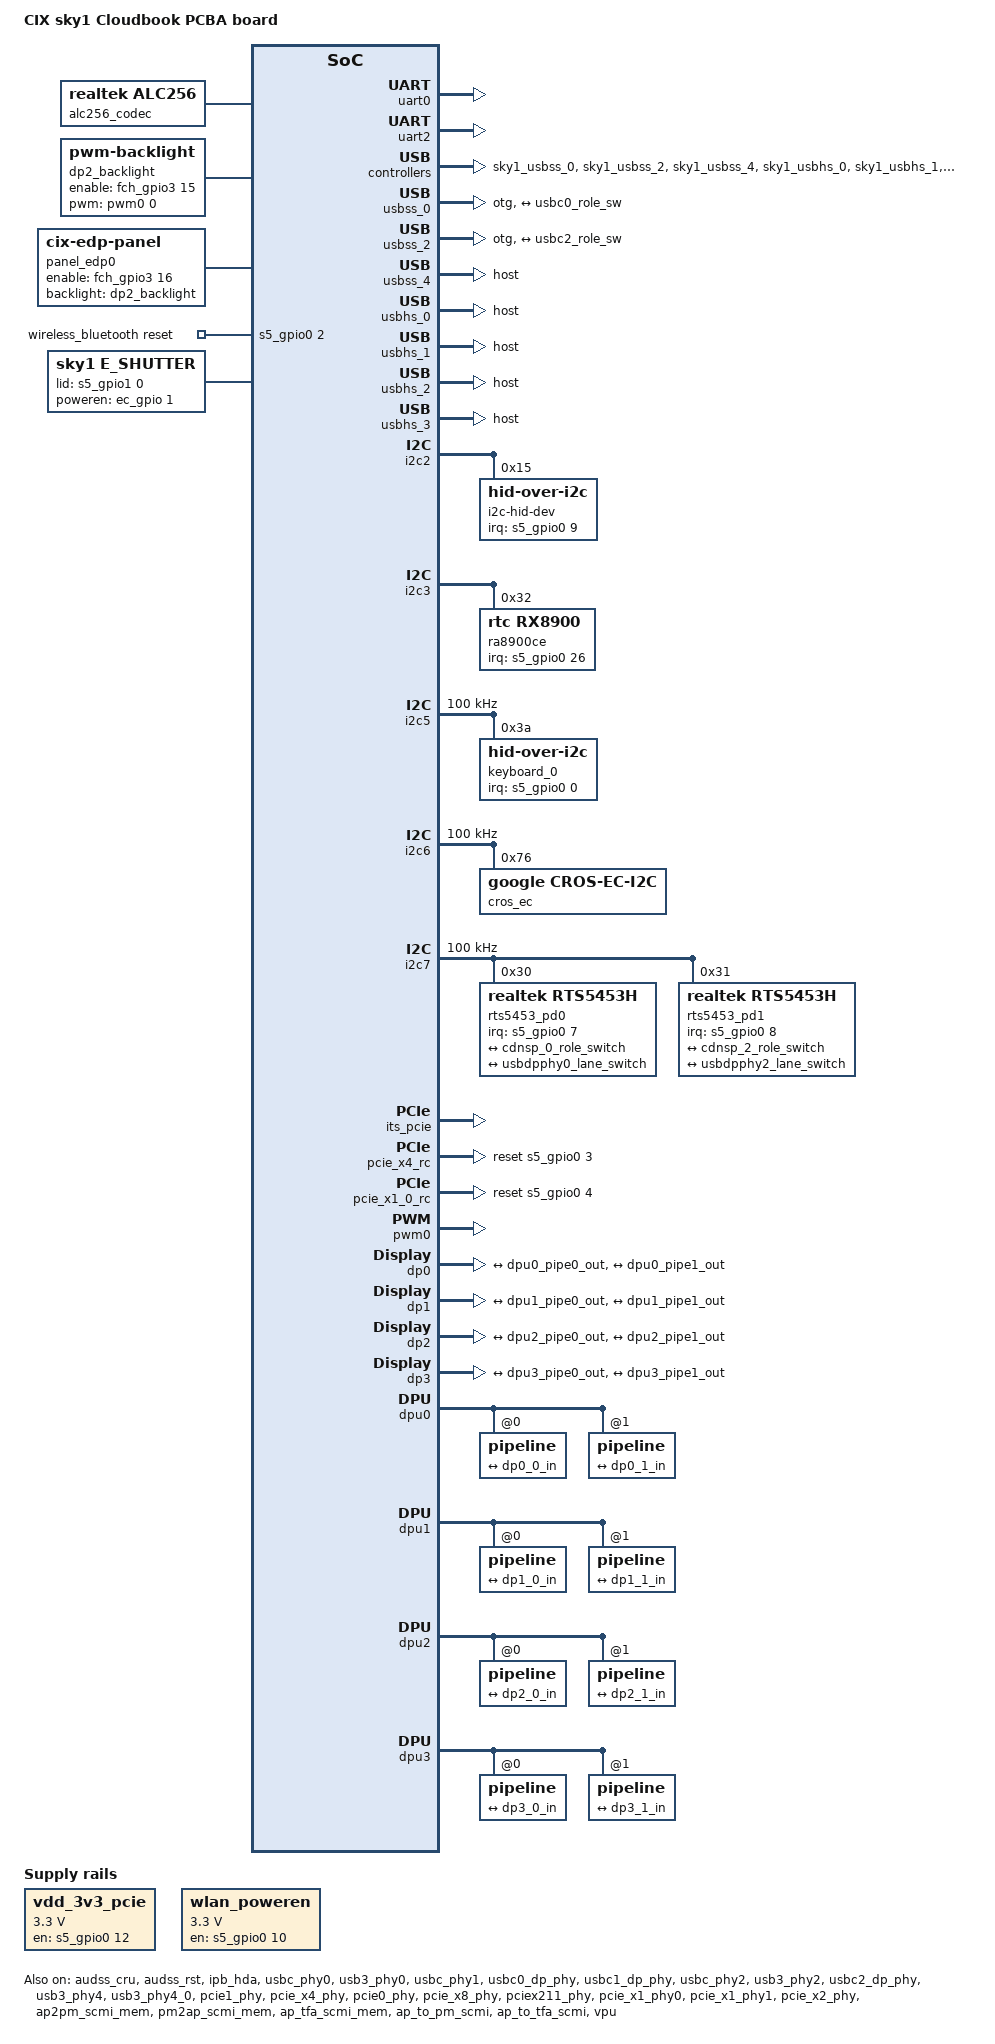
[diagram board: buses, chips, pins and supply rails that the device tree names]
/*
 * Copyright 2024 Cix Technology Group Co., Ltd.
 *
 * SPDX-License-Identifier: BSD-3-Clause
 */

/dts-v1/;

#include "sky1.dtsi"
/delete-node/ &reg_definition;

/ {
	model = "CIX sky1 Cloudbook PCBA board";
	compatible = "cix,sky1";

	chosen {
		stdout-path = &uart2;
	};

	alc256_codec: alc256_codec {
		compatible = "realtek,alc256";
		#sound-dai-cells = <0>;
		status = "okay";
	};

	sound {
		compatible = "cix,sky1-sound-card";
		model = "cix,sky1";
		status = "okay";

		hda {
			status = "okay";

			cpu {
				sound-dai = <&ipb_hda>;
			};

			codec {
				sound-dai = <&alc256_codec>;
			};
		};

	};

	dp2_backlight: dp2_backlight {
		compatible = "pwm-backlight";
		enable-gpios = <&fch_gpio3 15 GPIO_ACTIVE_HIGH>;
		pwms = <&pwm0 0 100000>;
		status = "okay";

		brightness-levels = <
			0   1   2   3   4   5   6   7
			8   9  10  11  12  13  14  15
			16  17  18  19  20  21  22  23
			24  25  26  27  28  29  30  31
			32  33  34  35  36  37  38  39
			40  41  42  43  44  45  46  47
			48  49  50  51  52  53  54  55
			56  57  58  59  60  61  62  63
			64  65  66  67  68  69  70  71
			72  73  74  75  76  77  78  79
			80  81  82  83  84  85  86  87
			88  89  90  91  92  93  94  95
			96  97  98  99 100 101 102 103
			104 105 106 107 108 109 110 111
			112 113 114 115 116 117 118 119
			120 121 122 123 124 125 126 127
			128 129 130 131 132 133 134 135
			136 137 138 139 140 141 142 143
			144 145 146 147 148 149 150 151
			152 153 154 155 156 157 158 159
			160 161 162 163 164 165 166 167
			168 169 170 171 172 173 174 175
			176 177 178 179 180 181 182 183
			184 185 186 187 188 189 190 191
			192 193 194 195 196 197 198 199
			200 201 202 203 204 205 206 207
			208 209 210 211 212 213 214 215
			216 217 218 219 220 221 222 223
			224 225 226 227 228 229 230 231
			232 233 234 235 236 237 238 239
			240 241 242 243 244 245 246 247
			248 249 250 251 252 253 254 255>;
		default-brightness-level = <200>;

	};

	panel_edp0: panel_edp0 {
		status = "okay";
		compatible = "cix-edp-panel";
		pinctrl-names = "default";
		pinctrl-0 = <&pinctrl_edp0>;
		backlight = <&dp2_backlight>;
		prepare-delay-ms = <120>;
		enable-delay-ms = <120>;
		unprepare-delay-ms = <500>;
		disable-delay-ms = <120>;
		width-mm = <129>;
		height-mm = <171>;
		enable-gpios = <&fch_gpio3 16 GPIO_ACTIVE_HIGH>;
	};

	wireless_bluetooth: wireless-bluetooth {
		compatible = "bluetooth-platdata";
		pinctrl-names = "default";
		pinctrl-0 = <&bt_reset_gpio>;
		BT,reset-gpios = <&s5_gpio0 2 GPIO_ACTIVE_HIGH>;
		status = "okay";
	};

	vdd_3v3_pcie: regulator-vdd-3v3-pcie {
		compatible = "regulator-fixed";
		regulator-name = "VDD_3V3_PCIE";
		pinctrl-names = "default";
		pinctrl-0 = <&wifi_vbat_gpio>;
		regulator-min-microvolt = <3300000>;
		regulator-max-microvolt = <3300000>;
		gpio = <&s5_gpio0 12 GPIO_ACTIVE_HIGH>;
		regulator-pull-down;
		enable-active-high;
		off-on-delay-us=<15000>;
	};

	wlan_poweren: wlan-poweren {
		compatible = "regulator-fixed";
		regulator-name = "WLAN_POWEREN_PCIE";
		pinctrl-names = "default";
		pinctrl-0 = <&wifi_poweren_gpio>;
		regulator-min-microvolt = <3300000>;
		regulator-max-microvolt = <3300000>;
		gpio = <&s5_gpio0 10 GPIO_ACTIVE_HIGH>;
		regulator-pull-down;
		enable-active-high;
		off-on-delay-us=<15000>;
	};

	e_shutter: e_shutter {
		compatible = "sky1, e_shutter";
		pinctrl-names = "default";
		pinctrl-0 = <&pinctrl_e_shutter>;
		lid-gpio = <&s5_gpio1 0 GPIO_ACTIVE_HIGH>;
		poweren-gpio = <&ec_gpio 1 GPIO_ACTIVE_HIGH>;
		status ="okay";
	};

};

&fch_gpio0 {
	status = "okay";
};

&fch_gpio1 {
	status = "okay";
};

&fch_gpio3 {
	status = "okay";
};

&s5_gpio0 {
	status = "okay";
};

&s5_gpio1 {
	status = "okay";
};

&iomuxc_s5 {
        status = "okay";

	pinctrl-names = "default";
	pinctrl-0 = <&pinctrl_hog_s5>;
	pinctrl_hog_s5: pinctrl_hog_s5 {

	};

	pinctrl_fch_spi0: pinctrl_fch_spi0_grp {
		sky1,pins = <
			0x000000a8 0x0000005c
			0x000000ac 0x0000005c
			0x000000b0 0x0000005c
			0x000000b4 0x0000005c
  			0x000000b8 0x0000001c
		>;
	};

	pinctrl_pcie_x8_rc: pinctrl_pcie_x8_rc {
		sky1,pins = <
			0x00000004 0x00000024
		>;
	};

	pinctrl_pcie_x4_rc: pinctrl_pcie_x4_rc {
		sky1,pins = <
			0x0000000c 0x00000024
		>;
	};

	pinctrl_pcie_x2_rc: pinctrl_pcie_x2_rc {
		sky1,pins = <
			0x0000000c 0x00000024
		>;
	};

	pinctrl_pcie_x1_1_rc: pinctrl_pcie_x1_1_rc {/*x1_1*/
		sky1,pins = <
			0x00000014 0x00000024
		>;
	};

	pinctrl_pcie_x1_0_rc: pinctrl_pcie_x1_0_rc {/*x1_0*/
		sky1,pins = <
			0x00000010 0x00000024
		>;
	};

	pinctrl_e_shutter: pinctrl_e_shutter {
		sky1,pins = <
			0x00000080 0x00000057
		>;
	};
};

&iomuxc {
	status = "okay";
	pinctrl-names = "default";
	pinctrl-0 = <&pinctrl_hog>;
	pinctrl_hog: pinctrl_hog {

	};

	pinctrl_fch_pwm0: pinctrl_fch_pwm0 {
		sky1,pins = <
			0x00000050 0x00000007
		>;
	};

	pinctrl_fch_pwm1: pinctrl_fch_pwm1 {
		sky1,pins = <
			0x0000013c 0x000000b7
		>;
	};

	pinctrl_gmac0: pinctrl_gmac0 {
		sky1,pins =
		/* rfclk_25M */
		< 0x000001a4 0x000000fc>,
		/* txc_trl */
		< 0x000001a8 0x000000bc>,
		/* txd0 */
		< 0x000001ac 0x000000bc>,
		/* txd1 */
		< 0x000001b0 0x000000bc>,
		/* txd2 */
		< 0x000001b4 0x000000bc>,
		/* txd3 */
		< 0x000001b8 0x000000bc>,
		/* tx_clk */
		< 0x000001bc 0x000000bc>,
		/* rx_ctl */
		< 0x000001c0 0x000000a4>,
		/* rxd0 */
		< 0x000001c4 0x000000a4>,
		/* rxd1 */
		< 0x000001c8 0x000000a4>,
		/* rxd2 */
		< 0x000001cc 0x000000a4>,
		/* rxd3 */
		< 0x000001d0 0x000000a4>,
		/* rx_clk */
		< 0x000001d4 0x000000a4>,
		/* mdc */
		< 0x000001d8 0x000000bc>,
		/* mdio */
		< 0x000001dc 0x000000dc>;
	};

	pinctrl_fch_fan0: pinctrl_fch_fan0 {
		sky1,pins = <
			0x0000014c 0x000000b7
		>;
	};

	pinctrl_fch_fan1: pinctrl_fch_fan1 {
		sky1,pins = <
			0x00000154 0x000000b7
		>;
	};

	pinctrl_fch_fan2: pinctrl_fch_fan2 {
		sky1,pins = <
			0x00000144 0x000000b7
		>;
	};

	pinctrl_fch_i2c0: pinctrl_fch_i2c0 {
		sky1,pins = <
			0x00000078 0x00000047
			0x0000007c 0x00000047
		>;
	};

	pinctrl_fch_i2c1: pinctrl_fch_i2c1 {
		sky1,pins = <
			0x00000080 0x00000047
			0x00000084 0x00000047
		>;
	};

	pinctrl_fch_i2c2: pinctrl_fch_i2c2 {
		sky1,pins = <
			0x00000088 0x0000005c
			0x0000008c 0x0000005c
		>;
	};

	pinctrl_fch_i2c3: pinctrl_fch_i2c3 {
		sky1,pins = <
			0x00000094 0x0000005c
			0x00000098 0x0000005c
		>;
	};

	pinctrl_fch_i2c4: pinctrl_fch_i2c4 {
		sky1,pins = <
			0x000000a0 0x00000047
			0x000000a4 0x00000047
		>;
	};

	pinctrl_fch_i2c5: pinctrl_fch_i2c5 {
		sky1,pins = <
			0x00000068 0x00000047
			0x0000006c 0x00000047
		>;
	};

	pinctrl_fch_i2c6: pinctrl_fch_i2c6 {
		sky1,pins = <
			0x00000070 0x00000047
			0x00000074 0x00000047
		>;
	};

	pinctrl_fch_i2c7: pinctrl_fch_i2c7 {
		sky1,pins = <
			0x00000054 0x00000047
			0x00000058 0x00000047
		>;
	};

	pinctrl_fch_i3c0: pinctrl_fch_i3c0 {
		sky1,pins = <
			0x00000088 0x000000dc
			0x0000008c 0x000000dc
			0x00000090 0x000000dc
		>;
	};

	pinctrl_fch_i3c1: pinctrl_fch_i3c1 {
		sky1,pins = <
			0x00000094 0x000000dc
			0x00000098 0x000000dc
			0x0000009c 0x000000dc
		>;
	};

	pinctrl_fch_uart0: pinctrl_fch_uart0 {
		sky1,pins = <
			0x0000013c 0x00000057
			0x00000140 0x00000057
			0x00000144 0x00000057
			0x00000148 0x00000057
		>;
	};

	pinctrl_fch_uart1: pinctrl_fch_uart1 {
		sky1,pins = <
			0x0000014c 0x00000057
			0x00000150 0x00000057
			0x00000154 0x00000057
			0x00000158 0x00000057
		>;
	};

	pinctrl_fch_uart2: pinctrl_fch_uart2 {
		sky1,pins = <
			0x0000015c 0x00000047
			0x00000160 0x00000047
		>;
	};

	pinctrl_hda: pinctrl_hda_grp {
		sky1,pins = <
			0x000000a8 0x0000003c /* hda bitclk */
			0x000000ac 0x0000003c /* hda rst */
			0x000000b0 0x0000003c /* hda sdin0 */
			0x000000b4 0x0000005c /* hda sdout0 */
			0x000000b8 0x0000005c /* hda sync */
			0x000000bc 0x0000003c /* hda sdin1 */
			0x000000c0 0x0000003c /* hda sdout1 */
		>;
	};

	pinctrl_edp0: pinctrl_edp0 {
		sky1,pins = <
			0x00000048 0x00000024 /* DP2_DIGON */
			0x0000004C 0x00000024 /* DP2_BLON */
		>;
	};
};

&iomuxc_s5 {
        status = "okay";

	wifi_poweren_gpio: wifi_poweren_gpio {
		sky1,pins = <
			0x00000028 0x0000005c
		>;
	};

	wifi_vbat_gpio: wifi_vbat_gpio {
		sky1,pins = <
			0x00000030 0x0000005c
		>;
	};

	bt_reset_gpio: bt_reset_gpio {
		sky1,pins = <
			0x00000008 0x0000005c
		>;
	};

	pinctrl_usb0: pinctrl_usb0_oc_grp {
                sky1,pins = <
                        0x000000bc 0x000000c4 /* USB0 OC_L */
                >;
        };
	pinctrl_usb2: pinctrl_usb2_oc_grp {
                sky1,pins = <
                        0x000000c4 0x000000c4 /* USB2 OC_L */
                >;
        };
	pinctrl_usb4: pinctrl_usb4_grp {
                 sky1,pins = <
			0x000000e8 0x000000a4 /* USB4 VBUS_DRIVE */
                 >;
        };
};

&hifi5 {
	status = "disabled";
};

&mbox_dsp2ap {
	status = "disabled";
};

&mbox_ap2dsp {
	status = "disabled";
};

&audss_cru {
	status = "okay";
};

&audss_clk {
	status = "okay";
};

&audss_rst {
	status = "okay";
};

&audss_dmac {
	status = "disabled";
};

&i2s0 {
	/* i2s_sc0 for codec */
	status = "disabled";
};

&i2s1 {
	/* i2s_sc1 for 5G/BT */
	status = "disabled";
};

&i2s2 {
	/* i2s_sc2 for loopback */
	status = "disabled";
};

&i2s3 {
	/* i2s_mc2a for speaker */
	status = "disabled";
};

&i2s4 {
	/* i2s_mc2b for dp-in */
	cdns,pin-rx-mask = /bits/ 8 <15>; /* 0x0f, pin0-pin3 works as receiver */
	status = "disabled";
};

&i2s5 {
	/* i2s_mc5a for dp-out */
	cdns,pin-tx-mask = /bits/ 8 <15>; /* 0x0f, pin0-pin3 works as transmitter */
	status = "disabled";
};

&i2s6 {
	/* i2s_mc5b for dp-out */
	cdns,pin-tx-mask = /bits/ 8 <15>; /* 0x0f, pin0-pin3 works as transmitter */
	status = "disabled";
};

&i2s7 {
	/* i2s_mc5c for dp-out */
	cdns,pin-tx-mask = /bits/ 8 <15>; /* 0x0f, pin0-pin3 works as transmitter */
	status = "disabled";
};

&i2s8 {
	/* i2s_mc5d for dp-out */
	cdns,pin-tx-mask = /bits/ 8 <15>; /* 0x0f, pin0-pin3 works as transmitter */
	status = "disabled";
};

&i2s9 {
	/* i2s_mc5e for dp-out */
	cdns,pin-tx-mask = /bits/ 8 <15>; /* 0x0f, pin0-pin3 works as transmitter */
	status = "disabled";
};

&ipb_hda {
	pinctrl-names = "default";
	pinctrl-0 = <&pinctrl_hda>;
	memory-region = <&audio_alsa>;
	status = "okay";
};

&sensorhub {
	memory-region = <&sfh_vdev0buffer>, <&sfh_vdev0vring0>,
			<&sfh_vdev0vring1>, <&sfh_ram>;
	status = "disabled";
};

/*uart0 for BT*/
&uart0{
        pinctrl-names = "default";
        timeout-value = <10000>;
        pinctrl-0 = <&pinctrl_fch_uart0>;
        dmas = <&fch_dmac 2 0>, <&fch_dmac 3 1>;
        dma-names = "tx","rx";
		status = "okay";
};

&uart2 {
	pinctrl-names = "default";
	pinctrl-0 = <&pinctrl_fch_uart2>;
	status = "okay";
};

&usbc_phy0 {
	orientation-switch;
	svid = <0xff01>;
	default_conf = /bits/ 8 <0x03>;
	status = "okay";
	mode-switch;
	port {
		#address-cells = <1>;
		#size-cells = <0>;
		usbdpphy0_lane_switch: endpoint@0 {
			reg = <0>;
			remote-endpoint = <&usbc0_phy_sw>;
		};
	};
};

&usb3_phy0 {
	status = "okay";
};

&sky1_usbss_0 {
	pinctrl-names = "default";
	pinctrl-0 = <&pinctrl_usb0>;
	sof_clk_freq = <8000000>;
	lpm_clk_freq = <32000>;
	status = "okay";
};

&usbss_0 {
	status = "okay";
	dr_mode = "otg";
	usb-role-switch;
	port {
		#address-cells = <1>;
		#size-cells = <0>;
		cdnsp_0_role_switch: endpoint@0 {
			reg = <0>;
			remote-endpoint = <&usbc0_role_sw>;
		};
	};
};


&usbc_phy1 {
    status = "okay";
    default_conf = /bits/ 8 <0x02>;
};

&usbc0_dp_phy {
    status = "okay";
};

&usbc1_dp_phy {
    status = "okay";
};


&usbc_phy2 {
	orientation-switch;
	svid = <0xff01>;
	default_conf = /bits/ 8 <0x02>;
	status = "okay";
	mode-switch;
	port {
		#address-cells = <1>;
		#size-cells = <0>;
		usbdpphy2_lane_switch: endpoint@0 {
			reg = <0>;
			remote-endpoint = <&usbc2_phy_sw>;
		};
	};
};

&usb3_phy2 {
	status = "okay";
};

&usbc2_dp_phy {
	status = "okay";
};

&sky1_usbss_2 {
	pinctrl-names = "default";
	pinctrl-0 = <&pinctrl_usb2>;
	sof_clk_freq = <8000000>;
	lpm_clk_freq = <32000>;
	status = "okay";
};

&usbss_2 {
	status = "okay";
	dr_mode = "otg";
	usb-role-switch;
	port {
		#address-cells = <1>;
		#size-cells = <0>;
		cdnsp_2_role_switch: endpoint@0 {
			reg = <0>;
			remote-endpoint = <&usbc2_role_sw>;
		};
	};
};

&usb3_phy4 {
	status = "okay";
};

&usb3_phy4_0 {
	status = "okay";
};

&sky1_usbss_4 {
	pinctrl-names = "default";
	pinctrl-0 = <&pinctrl_usb4>;
	sof_clk_freq = <8000000>;
	lpm_clk_freq = <32000>;
	status = "okay";
};

&usbss_4 {
	status = "okay";
	dr_mode = "host";
};

&sky1_usbhs_0 {
	sof_clk_freq = <8000000>;
	lpm_clk_freq = <32000>;
	status = "okay";
};

&usbhs_0 {
	status = "okay";
	dr_mode = "host";
};

&sky1_usbhs_1 {
	sof_clk_freq = <8000000>;
	lpm_clk_freq = <32000>;
	status = "okay";
};

&usbhs_1 {
	status = "okay";
	dr_mode = "host";
};

&sky1_usbhs_2 {
	sof_clk_freq = <8000000>;
	lpm_clk_freq = <32000>;
	status = "okay";
};

&usbhs_2 {
	status = "okay";
	dr_mode = "host";
};

&sky1_usbhs_3 {
	sof_clk_freq = <8000000>;
	lpm_clk_freq = <32000>;
	status = "okay";
};

&usbhs_3 {
	status = "okay";
	dr_mode = "host";
};


/********** clickpad **********/
&i2c2 {
	status = "okay";
	pinctrl-names = "default";
	pinctrl-0 = <&pinctrl_fch_i2c2>;
	i2c-hid-dev@15 {
		compatible = "hid-over-i2c";
		reg = <0x15>;
		hid-descr-addr = <0x0001>;
		interrupt-parent = <&s5_gpio0>;
		interrupts = <9 IRQ_TYPE_LEVEL_LOW>;
		status = "okay";
	};
};

/********** RTC **********/
&i2c3 {
	status = "okay";
	pinctrl-names = "default";
	pinctrl-0 = <&pinctrl_fch_i2c3>;
	ra8900ce: ra8900ce@32 {
		compatible = "rtc,rx8900";
		reg = <0x32>;
		interrupt-parent = <&s5_gpio0>;
		interrupts = <26 IRQ_TYPE_LEVEL_LOW>;
		status = "okay";
	};
};

&i2c4 {
	status = "disabled";
	pinctrl-names = "default";
	pinctrl-0 = <&pinctrl_fch_i2c4>;
};

/********** HID_EC **********/
&i2c5 {
        status = "okay";
        pinctrl-names = "default";
        pinctrl-0 = <&pinctrl_fch_i2c5>;
        clock-frequency = <100000>;
        keyboard_0: keyboard@3a {
                compatible = "hid-over-i2c";
                reg = <0x3a>;
                interrupt-parent = <&s5_gpio0>;
                interrupts = <0 IRQ_TYPE_EDGE_RISING>;
                hid-descr-addr = <0x0001>;
                status = "okay";
        };
};

/********** OS_PROTOCOL_EC **********/
&i2c6 {
	status = "okay";
	clock-frequency = <100000>;
	pinctrl-names = "default";
	pinctrl-0 = <&pinctrl_fch_i2c6>;
	cros_ec: ec@76 {
		compatible = "google,cros-ec-i2c";
		reg = <0x76>;
		//interrupt-parent = <&s5_gpio0>;
		//interrupts = <6 IRQ_TYPE_EDGE_RISING>;
		//wakeup-source;
		status = "okay";
	};
};

&cros_ec {
	cros_ec_pwm: ec-pwm {
		compatible = "google,cros-ec-pwm";
		#pwm-cells = <1>;
		status = "disabled";
	};

	cix_fan: pwm-fan {
		compatible = "pwm-fan";
		cooling-levels = <0 150 200 255>;
		#cooling-cells = <2>;
		pwms = <&cros_ec_pwm 0>;
		status = "disabled";
	};

	cix_ec_light {
		compatible = "cix,cix-ec-light";
		status = "disabled";
	};

	cix_ec_lid {
		compatible = "cix,cix-ec-lid";
		status = "disabled";
	};

	cix_ec_battery {
		compatible = "cix,cix-ec-battery";
		status = "okay";
	};

	cix_ec_charge {
		compatible = "cix,cix-ec-charge";
		status = "okay";
	};

	cix_ec_kb_backlight{
		compatible = "cix,cix-ec-keyboard-backlight";
		status = "disabled";
	};

	ec_gpio: cix_ec_gpio {
		compatible = "cix,cix-ec-gpio";
		gpio-controller;
		#gpio-cells = <2>;
		ngpios = <104>;
		status = "okay";
	};
};

/********** PD1&PD2 **********/
&i2c7 {
	status = "okay";
	pinctrl-names = "default";
	pinctrl-0 = <&pinctrl_fch_i2c7>;
	clock-frequency = <100000>;
	rts5453_pd0:rts5453@30 {
			compatible = "realtek,rts5453h";
			interrupt-parent = <&s5_gpio0>;
			interrupts = <7 IRQ_TYPE_LEVEL_LOW>;
			id = <0>;
			reg = <0x30>;
			status = "okay";
			usbc_con0 {
				data-role = "host";
				power-role = "source";
				try-power-role = "source";
				#address-cells = <1>;
				#size-cells = <0>;
				port@0 {
					reg = <0>;
					usbc0_role_sw: endpoint {
						remote-endpoint = <&cdnsp_0_role_switch>;
					};
				};
				port@1 {
					reg = <1>;
					usbc0_phy_sw: endpoint {
						remote-endpoint = <&usbdpphy0_lane_switch>;
					};
				};
			};
	};

	rts5453_pd1:rts5453@31 {
			compatible = "realtek,rts5453h";
			interrupt-parent = <&s5_gpio0>;
			interrupts = <8 IRQ_TYPE_LEVEL_LOW>;
			id = <1>;
			reg = <0x31>;
			status = "okay";
			usbc_con1 {
				data-role = "host";
				power-role = "source";
				try-power-role = "source";
				#address-cells = <1>;
				#size-cells = <0>;
				port@0 {
					reg = <0>;
					usbc2_role_sw: endpoint {
						remote-endpoint = <&cdnsp_2_role_switch>;
					};
				};

				port@1 {
					reg = <1>;
					usbc2_phy_sw: endpoint {
						remote-endpoint = <&usbdpphy2_lane_switch>;
					};
				};
			};
	};
};

/*********** dTPM ***********/
&spi0{
	status = "disabled";
	pinctrl-names = "default";
	pinctrl-0 = <&pinctrl_fch_spi0>;
	/* Character device nodes for device communication on CS0(/dev/spidev0.0) */
	spidev0_0:spi@0_0{
		compatible = "rohm,dh2228fv";
		reg = <0>;
		spi-max-frequency = <5000000>;
	};
};

&its_pcie {
	status = "okay";
};

&smmu_pciehub{
	status = "disabled";
};

&pcie_x8_rc {
	plat-evk;
	pinctrl-names = "default";
	pinctrl-0 = <&pinctrl_pcie_x8_rc>;
	reset-gpios = <&s5_gpio0 1 GPIO_ACTIVE_HIGH>;
	status = "disabled";
};

&pcie_x4_rc {
	plat-evk;
	pinctrl-names = "default";
	pinctrl-0 = <&pinctrl_pcie_x4_rc>;
	reset-gpios = <&s5_gpio0 3 GPIO_ACTIVE_HIGH>;
	status = "okay";
};

&pcie_x2_rc {
	plat-evk;
	pinctrl-names = "default";
	pinctrl-0 = <&pinctrl_pcie_x2_rc>;
	reset-gpios = <&s5_gpio0 2 GPIO_ACTIVE_HIGH>;
	status = "disabled";
};

&pcie_x1_1_rc {
	plat-evk;
	pinctrl-names = "default";
	pinctrl-0 = <&pinctrl_pcie_x1_1_rc>;
	reset-gpios = <&s5_gpio0 5 GPIO_ACTIVE_HIGH>;
	status = "disabled";
};

&pcie_x1_0_rc {
	plat-evk;
	pinctrl-names = "default";
	pinctrl-0 = <&pinctrl_pcie_x1_0_rc>;
	reset-gpios = <&s5_gpio0 4 GPIO_ACTIVE_HIGH>;
	vcc-pcie-supply = <&vdd_3v3_pcie>;
	wlan-en-supply = <&wlan_poweren>;
	status = "okay";
};

&pcie1_phy {
	status = "okay";
};

&pcie_x4_phy {
	status = "okay";
};

&pcie0_phy {
	status = "okay";
};

&pcie_x8_phy {
	status = "okay";
};

&pciex211_phy {
	status = "okay";
};

&pcie_x1_phy0 {
	status = "okay";
};

&pcie_x1_phy1 {
	status = "okay";
};

&pcie_x2_phy {
	status = "okay";
};

&pwm0 {
	pinctrl-names = "default";
	pinctrl-0 = <&pinctrl_fch_pwm0>;
	status = "okay";
};

&pwm1 {
	pinctrl-names = "default";
	pinctrl-0 = <&pinctrl_fch_pwm1>;
	status = "disabled";
};

&dp0 {
	status = "okay";
	cix,dp-max-rate = <540000>;

	ports {
		port@0 {
			reg = <0>;
			dp0_0_in: endpoint {
				remote-endpoint = <&dpu0_pipe0_out>;
			};
		};
		port@1 {
			reg = <1>;
			dp0_1_in: endpoint {
				remote-endpoint = <&dpu0_pipe1_out>;
			};
		};
	};
};

&dp1 {
	status = "okay";
	cix,dp-max-rate = <540000>;
	cix,delay_after_hpd = <128>;

	ports {
		port@0 {
			reg = <0>;
			dp1_0_in: endpoint {
				remote-endpoint = <&dpu1_pipe0_out>;
			};
		};
		port@1 {
			reg = <1>;
			dp1_1_in: endpoint {
				remote-endpoint = <&dpu1_pipe1_out>;
			};
		};
	};
};

&dp2 {
	status = "okay";
	cix,dp-max-rate = <540000>;
	edp-panel = <&panel_edp0>;

	ports {
		port@0 {
			reg = <0>;
			dp2_0_in: endpoint {
				remote-endpoint = <&dpu2_pipe0_out>;
			};
		};
		port@1 {
			reg = <1>;
			dp2_1_in: endpoint {
				remote-endpoint = <&dpu2_pipe1_out>;
			};
		};
	};
};

&dp3 {
	status = "okay";
	cix,dp-max-rate = <540000>;

	ports {
		port@0 {
			reg = <0>;
			dp3_0_in: endpoint {
				remote-endpoint = <&dpu3_pipe0_out>;
			};
		};
		port@1 {
			reg = <1>;
			dp3_1_in: endpoint {
				remote-endpoint = <&dpu3_pipe1_out>;
			};
		};
	};
};

&dp4 {
	status = "disabled";
	cix,dp-max-rate = <540000>;

	ports {
		port@0 {
			reg = <0>;
			dp4_0_in: endpoint {
				remote-endpoint = <&dpu4_pipe0_out>;
			};
		};
		port@1 {
			reg = <1>;
			dp4_1_in: endpoint {
				remote-endpoint = <&dpu4_pipe1_out>;
			};
		};
	};
};

&dpu0 {
	status = "okay";

	pipeline@0 {
		port {
			dpu0_pipe0_out: endpoint {
				remote-endpoint = <&dp0_0_in>;
			};
		};
	};

	pipeline@1 {
		port {
			dpu0_pipe1_out: endpoint {
				remote-endpoint = <&dp0_1_in>;
			};
		};
	};
};

&dpu1 {
	status = "okay";

	pipeline@0 {
		port {
			dpu1_pipe0_out: endpoint {
				remote-endpoint = <&dp1_0_in>;
			};
		};
	};

	pipeline@1 {
		port {
			dpu1_pipe1_out: endpoint {
				remote-endpoint = <&dp1_1_in>;
			};
		};
	};
};

&dpu2 {
	status = "okay";

	pipeline@0 {
		port {
			dpu2_pipe0_out: endpoint {
				remote-endpoint = <&dp2_0_in>;
			};
		};
	};

	pipeline@1 {
		port {
			dpu2_pipe1_out: endpoint {
				remote-endpoint = <&dp2_1_in>;
			};
		};
	};
};

&dpu3 {
	status = "okay";

	pipeline@0 {
		port {
			dpu3_pipe0_out: endpoint {
				remote-endpoint = <&dp3_0_in>;
			};
		};
	};

	pipeline@1 {
		port {
			dpu3_pipe1_out: endpoint {
				remote-endpoint = <&dp3_1_in>;
			};
		};
	};
};

&dpu4 {
	status = "disabled";

	pipeline@0 {
		port {
			dpu4_pipe0_out: endpoint {
				remote-endpoint = <&dp4_0_in>;
			};
		};
	};

	pipeline@1 {
		port {
			dpu4_pipe1_out: endpoint {
				remote-endpoint = <&dp4_1_in>;
			};
		};
	};
};

&aeu0 {
	status = "disabled";
};

&aeu1 {
	status = "disabled";
};

&aeu2 {
	status = "disabled";
};

&aeu3 {
	status = "disabled";
};

&aeu4 {
	status = "disabled";
};

&mbox_ap2pm {
    status = "okay";
};

&mbox_pm2ap {
    status = "okay";
};

&ap2pm_scmi_mem {
    status = "okay";
};

&pm2ap_scmi_mem {
    status = "okay";
};

&ap_tfa_scmi_mem {
    status = "okay";
};

&ap_to_pm_scmi {
    status = "okay";
};

&ap_to_tfa_scmi {
    status = "okay";
};

&vpu {
    status = "okay";
};
